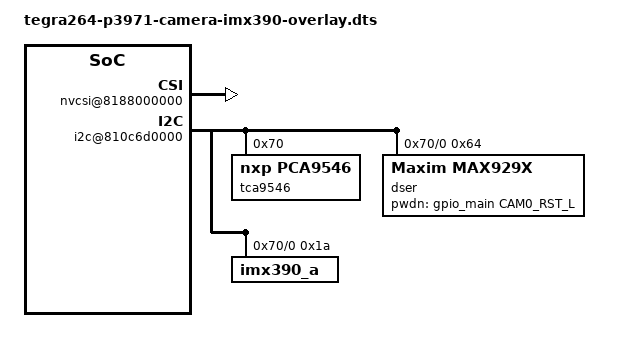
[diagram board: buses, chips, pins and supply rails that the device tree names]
// SPDX-License-Identifier: GPL-2.0-only
// SPDX-FileCopyrightText: Copyright (c) 2025, NVIDIA CORPORATION & AFFILIATES. All rights reserved.

/dts-v1/;
/plugin/;

#include <dt-bindings/clock/tegra264-clk.h>
#include <dt-bindings/gpio/tegra264-gpio.h>

/* camera control gpio definitions */
#define CAM0_RST_L	TEGRA264_MAIN_GPIO(V, 2)
#define JETSON_COMPATIBLE	"nvidia,p3971-0089+p3834-0008", "nvidia,p3971-0050+p3834-0005", "nvidia,p3971-0080+p3834-0008", "nvidia,p3834-0008", "nvidia,tegra264"

/ {
	overlay-name = "Jetson Camera IMX390";
	jetson-header-name = "Jetson AGX CSI Connector";
	compatible = JETSON_COMPATIBLE;

	fragment@0 {
		target-path = "/";
		__overlay__ {
			tegra-capture-vi {
				num-channels = <1>;
				ports {
					status ="okay";
					#address-cells = <1>;
					#size-cells = <0>;
					port@0 {
						status ="okay";
						reg = <0>;
						endpoint {
							status ="okay";
							port-index = <0>;
							bus-width = <4>;
							remote-endpoint = <&liimx390_csi_out0>;
						};
					};
				};
			};
			bus@0 {
				host1x@8181200000 {
					nvcsi@8188000000 {
						num-channels = <1>;
						#address-cells = <1>;
						#size-cells = <0>;
						status ="okay";
						channel@0 {
							reg = <0>;
							status ="okay";
							ports {
								#address-cells = <1>;
								#size-cells = <0>;
								status ="okay";
								port@0 {
									reg = <0>;
									status ="okay";
									endpoint@0 {
										status ="okay";
										port-index = <0>;
										bus-width = <4>;
										remote-endpoint = <&liimx390_imx390_out0>;
									};
								};
								port@1 {
									reg = <1>;
									status ="okay";
									endpoint@1 {
										status ="okay";
										remote-endpoint = <&liimx390_vi_in0>;
									};
								};
							};
						};
					};
				};
				i2c@810c6d0000 {
					tca9546@70 {
						status = "okay";
						compatible = "nxp,pca9546";
						reg = <0x70>;
						#address-cells = <1>;
						#size-cells = <0>;
						skip_mux_detect = "yes";
						i2c@0 {
							reg = <0>;
							i2c-mux,deselect-on-exit;
							#address-cells = <1>;
							#size-cells = <0>;
							status = "okay";
							dser: max929x_a@64 {
								compatible = "Maxim,max929x";
								reg = <0x64>;
								pwdn-gpios = <&gpio_main CAM0_RST_L GPIO_ACTIVE_HIGH>;
								status = "okay";
							};
							imx390_a@21 {
								/* Define any required hw resources needed by driver */
								/* ie. clocks, io pins, power sources */
								clocks = <&bpmp TEGRA264_CLK_EXTPERIPH1>,
										<&bpmp TEGRA264_CLK_EXTPERIPH1>;
								clock-names = "extperiph1", "pllp_grtba";
								mclk = "extperiph1";
								channel = "a";
								status = "okay";
								reg = <0x1a>;
								nvidia,gmsl-dser-device = <&dser>;
								ports {
									status = "okay";
									port@0 {
										status = "okay";
									};
								};
							};
						};
					};
				};
			};
		};
	};
};
